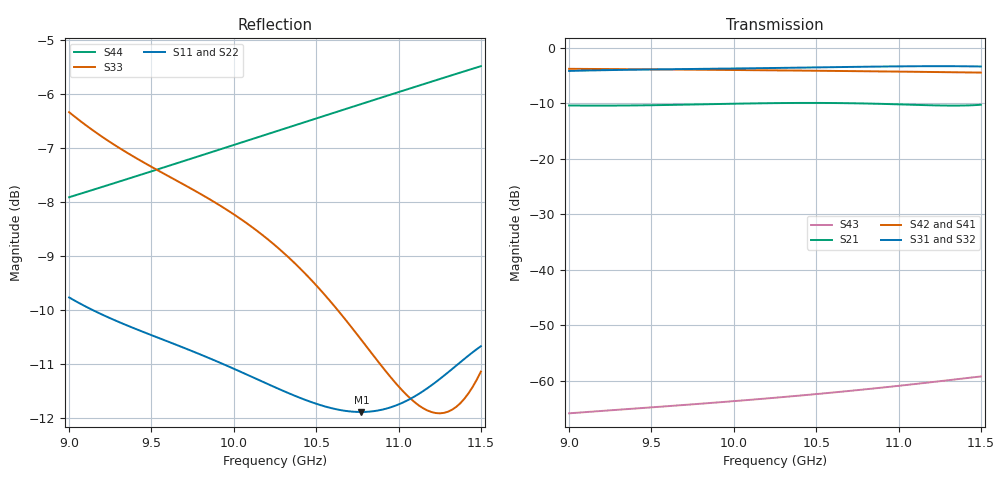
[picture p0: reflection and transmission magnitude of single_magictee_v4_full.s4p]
! Generated from PyAEDT SolutionData; AEDT ExportNetworkData workaround
# GHz S MA R 50
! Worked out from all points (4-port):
!   101 points, 9 GHz to 11.5 GHz, reference 50 ohm
!   strongest paths, dB at 9 GHz, 9.625 GHz, 10.25 GHz, 10.88 GHz, 11.5 GHz:
!     S31: -4.2, -3.8, -3.6, -3.4, -3.4
!     S32: -4.2, -3.9, -3.6, -3.4, -3.4
!     S42: -3.8, -3.9, -4.1, -4.2, -4.5
!     S41: -3.8, -3.9, -4.1, -4.2, -4.5
!     S21: -10.4, -10.3, -10.0, -10.1, -10.3
!     S43: -65.9, -64.5, -63.0, -61.3, -59.2
!   lowest |S11| = -11.9 dB at 10.78 GHz (marker M1), VSWR 1.68, Z = 30.1 + j4.69 ohm
!   |S11| at or under -10 dB: 9.147 GHz to end of sweep
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9  0.3251 -8.5  0.3026 -88.0  0.6195 -24.0  0.6473 45.7
   0.3026 -88.0  0.3254 -8.3  0.6193 -24.0  0.6473 -134.2
   0.6195 -24.0  0.6193 -24.0  0.4824 178.6  0.0005098 -37.3
   0.6473 45.7  0.6473 -134.2  0.0005098 -37.3  0.4024 -127.8
9.425  0.3031 -58.2  0.3033 -146.2  0.6365 -99.4  0.6411 -2.2
       0.3033 -146.2  0.3033 -57.9  0.6363 -99.4  0.6412 177.8
       0.6365 -99.4  0.6363 -99.4  0.4358 83.3  0.0005663 -120.3
       0.6411 -2.2  0.6412 177.8  0.0005663 -120.3  0.4217 -172.3
9.9  0.2835 -111.0  0.3118 152.6  0.6492 179.8  0.6332 -53.7
     0.3118 152.6  0.2836 -110.8  0.649 179.8  0.6334 126.3
     0.6492 179.8  0.649 179.8  0.3968 -18.1  0.0006389 151.1
     0.6332 -53.7  0.6334 126.3  0.0006389 151.1  0.4448 139.3
10.375  0.2634 -159.8  0.3188 93.3  0.6627 101.1  0.6243 -103.7
        0.3188 93.3  0.2634 -159.5  0.6626 101.1  0.6245 76.3
        0.6627 101.1  0.6626 101.1  0.349 -117.3  0.0007308 65.6
        0.6243 -103.7  0.6245 76.3  0.0007308 65.6  0.4693 91.8
10.775  0.2546 163.4  0.3158 45.1  0.6753 34.9  0.616 -144.9
        0.3158 45.1  0.2546 163.7  0.6752 34.9  0.6161 35.0
        0.6753 34.9  0.6752 34.9  0.2968 155.7  0.0008318 -5.1
        0.616 -144.9  0.6161 35.0  0.0008318 -5.1  0.4909 52.2
11.125  0.2648 132.5  0.3059 5.8  0.6831 -24.1  0.608 179.5
        0.3059 5.8  0.2648 132.8  0.6832 -24.2  0.608 -0.6
        0.6831 -24.1  0.6832 -24.2  0.2581 70.7  0.0009449 -67.2
        0.608 179.5  0.608 -0.6  0.0009449 -67.2  0.5106 17.7
11.5  0.293 94.2  0.3071 -30.6  0.6793 -90.4  0.5987 141.7
      0.3071 -30.6  0.2928 94.5  0.6794 -90.5  0.5987 -38.4
      0.6793 -90.4  0.6794 -90.5  0.2775 -30.2  0.001095 -136.5
      0.5987 141.7  0.5987 -38.4  0.001095 -136.5  0.5321 -19.2
